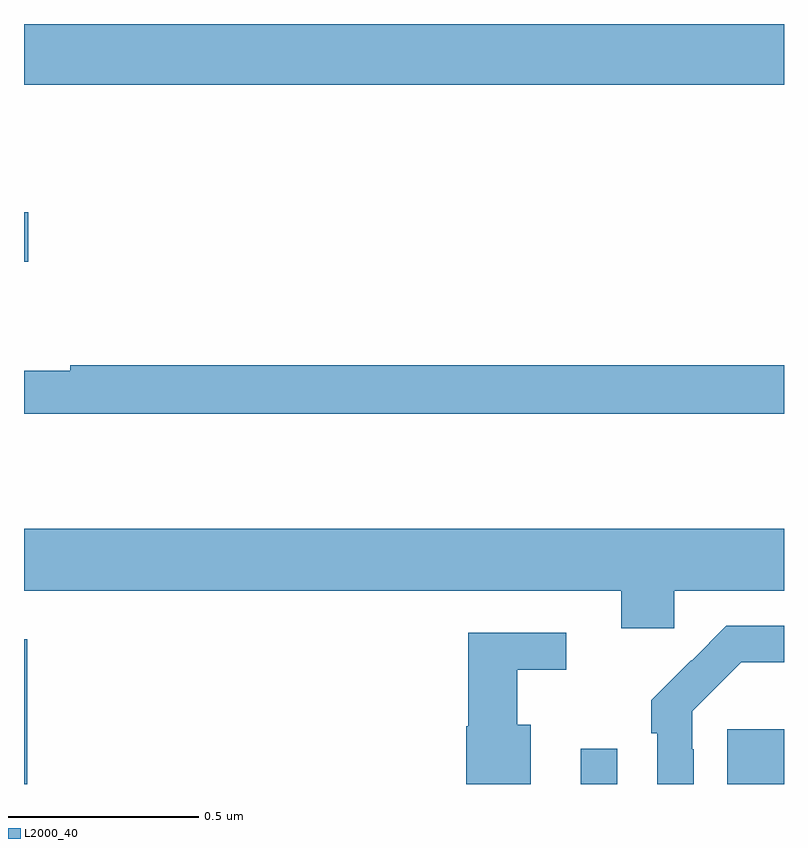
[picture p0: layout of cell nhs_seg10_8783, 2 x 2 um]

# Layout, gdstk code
import gdstk
lib = gdstk.Library(unit=1e-6, precision=1e-09)
def R(c, l, rs):  # rectangles x0, y0, x1, y1
    for r in rs: c.add(gdstk.rectangle(r[:2], r[2:], *l))
def P(c, l, *ps):  # polygons
    for p in ps: c.add(gdstk.Polygon(p, *l))
L2000_40 = (2000, 40)

nhs_seg10_8783 = lib.new_cell('nhs_seg10_8783')
R(nhs_seg10_8783, L2000_40, [(221,1274.5,221.009,1274.881), (222.465,1274.5,222.561,1274.593), (222.851,1274.5,223,1274.644), (221,1275.875,221.011,1276.005), (221,1276.34,223,1276.5)])
P(nhs_seg10_8783, L2000_40, [(223,1275.602),(221.122,1275.602),(221.122,1275.587),(221,1275.587),(221,1275.474),(223,1275.474)],
  [(222.711,1275.008),(223,1275.008),(223,1275.172),(221,1275.172),(221,1275.008),(222.572,1275.008),(222.572,1274.91),(222.711,1274.91)],
  [(222.762,1274.591),(222.759,1274.591),(222.759,1274.691),(222.888,1274.82),(223,1274.82),(223,1274.916),(222.848,1274.916),(222.757,1274.825),(222.756,1274.826),(222.651,1274.721),(222.651,1274.633),(222.666,1274.633),(222.666,1274.5),(222.762,1274.5)],
  [(222.334,1274.656),(222.298,1274.656),(222.298,1274.801),(222.427,1274.801),(222.427,1274.898),(222.169,1274.898),(222.169,1274.652),(222.164,1274.652),(222.164,1274.5),(222.334,1274.5)])

lib.write_gds('nhs_seg10_8783.gds')
